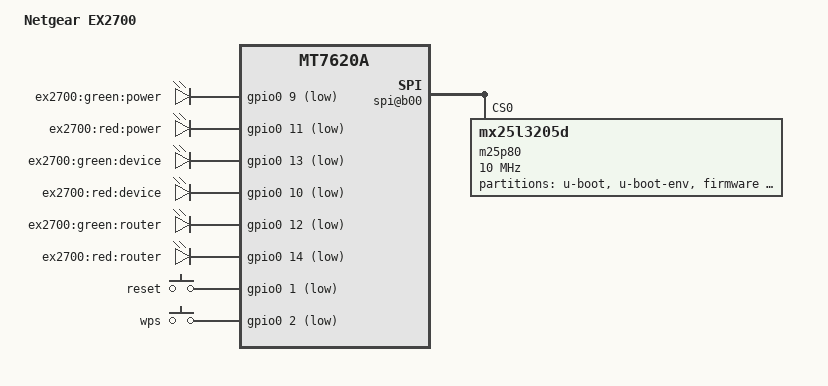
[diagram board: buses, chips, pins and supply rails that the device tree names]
/dts-v1/;

/include/ "mt7620a.dtsi"

/ {
	compatible = "ralink,mt7620a-soc";
	model = "Netgear EX2700";

	chosen {
		bootargs = "console=ttyS0,57600";
	};

	palmbus@10000000 {
		gpio0: gpio@600 {
			status = "okay";
		};

		gpio1: gpio@638 {
			status = "okay";
		};

		gpio2: gpio@660 {
			status = "okay";
		};

		gpio3: gpio@688 {
			status = "okay";
		};

		spi@b00 {
			status = "okay";

			m25p80@0 {
				#address-cells = <1>;
				#size-cells = <1>;
				compatible = "mx25l3205d";
				reg = <0 0>;
				linux,modalias = "m25p80", "mx25l3205d";
				spi-max-frequency = <10000000>;

				partition@0 {
					label = "u-boot";
					reg = <0x0 0x30000>;
					read-only;
				};

				partition@30000 {
					label = "u-boot-env";
					reg = <0x30000 0x10000>;
					read-only;
				};

				partition@40000 {
					label = "firmware";
					//reg = <0x40000 0x370000>;
					reg = <0x40000 0x3a0000>;
				};

				/*
				partition@3b0000 {
					label = "language";
					reg = <0x3b0000 0x20000>;
				};

				partition@3d0000 {
					label = "pot";
					reg = <0x3d0000 0x10000>;
				};
				*/

				// While this partition is not used by OpenWrt, we'll
				// leave it for now, in case someone wants to go back
				// to the original firmware.

				partition@3e0000 {
					label = "config";
					reg = <0x3e0000 0x10000>;
				};

				art: partition@3f0000 {
					label = "art";
					reg = <0x3f0000 0x10000>;
					read-only;
				};
			};
		};
	};

	ethernet@10100000 {
		pinctrl-names = "default";
		pinctrl-0 = <&ephy_pins>;
		mtd-mac-address = <&art 0x0>;
		//ralink,port-map = "llllw";
	};

	wmac@10180000 {
		pinctrl-names = "default";
		pinctrl-0 = <&wled_pins>;
		ralink,mtd-eeprom = <&art 0x1000>;
	};

	pinctrl {
		state_default: pinctrl0 {
			default {
				ralink,group = "i2c", "uartlite", "mdio", "rgmii1",
						"ephy", "rgmii2", "wled", "pa", "uartf";

				//"i2c", "wled", "ephy", "uartf", "rgmii2", ;
				ralink,function = "gpio";
			};
		};
	};

	gpio-leds {
		compatible = "gpio-leds";

		power_g {
			label = "ex2700:green:power";
			gpios = <&gpio0 9 1>;
			default-state = "on";
		};

		power_r {
			label = "ex2700:red:power";
			gpios = <&gpio0 11 1>;
		};

		device_g {
			label = "ex2700:green:device";
			gpios = <&gpio0 13 1>;
		};

		device_r {
			label = "ex2700:red:device";
			gpios = <&gpio0 10 1>;
		};

		router_g {
			label = "ex2700:green:router";
			gpios = <&gpio0 12 1>;
		};

		router_r {
			label = "ex2700:red:router";
			gpios = <&gpio0 14 1>;
		};
	};

	gpio-keys-polled {
		compatible = "gpio-keys-polled";
		#address-cells = <1>;
		#size-cells = <0>;
		poll-interval = <20>;

		reset {
			label = "reset";
			gpios = <&gpio0 1 1>;
			linux,code = <0x198>;
		};

		wps {
			label = "wps";
			gpios = <&gpio0 2 1>;
			linux,code = <0x211>;
		};
	};
};
